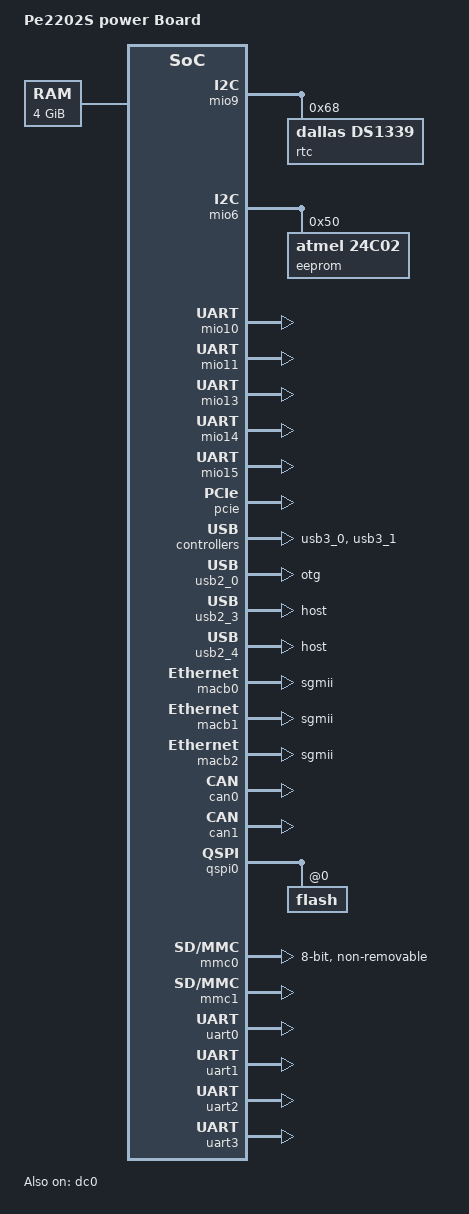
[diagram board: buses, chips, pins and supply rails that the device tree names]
// SPDX-License-Identifier: GPL-2.0
/*
 * DTS file for Phytium Pe2202 power board
 *
 * Copyright (c) 2022-2023 Phytium Technology Co., Ltd.
 *
 * Hongmin Qi <qihongmin@phytium.com.cn>
 *
 * This program is free software; you can redistribute it and/or
 * modify it under the terms of the GNU General Public License as
 * published by the Free Software Foundation; either version 2 of
 * the License, or (at your option) any later version.
 */

/dts-v1/;
/memreserve/ 0x80000000 0x10000;

#include "pe2202.dtsi"

/{
	model = "Pe2202S power Board";
	compatible = "phytium,pe2202";

	chosen {
		stdout-path = "serial1:115200n8";
	};

	memory@00{
		device_type = "memory";
		reg = <0x0 0x80000000 0x1 0x00000000>;
	};
};

&soc {
	mio9: i2c@28026000 {
		compatible = "phytium,i2c";
		reg = <0x0 0x28026000 0x0 0x1000>;
		interrupts = <0x0 0x65 0x4>;
		clocks = <&sysclk_50mhz>;
		#address-cells = <0x1>;
		#size-cells = <0x0>;
		status = "okay";

		rtc@68 {
			compatible = "dallas,ds1339";
			reg = <0x68>;
		};
	};

	mio6: i2c@28020000 {
		status = "okay";
		compatible = "phytium,i2c";
		reg = <0x0 0x28020000 0x0 0x1000>;
		interrupts = <GIC_SPI 98 IRQ_TYPE_LEVEL_HIGH>;
		clocks = <&sysclk_50mhz>;
		#address-cells = <0x1>;
		#size-cells = <0x0>;
		eeprom@50 {
			compatible = "atmel,24c02";
			reg = <0x50>;
			pagesize = <1>;
		};
	};

	mio10: uart@28028000 {
		compatible = "arm,pl011", "arm,primecell";
		reg = <0x0 0x28028000 0x0 0x1000>;
		interrupts = <GIC_SPI 102 IRQ_TYPE_LEVEL_HIGH>;
		clocks = <&sysclk_50mhz &sysclk_50mhz>;
		clock-names = "uartclk", "apb_pclk";
		status = "okay";
	};

	mio11: uart@2802a000 {
		compatible = "arm,pl011", "arm,primecell";
		reg = <0x0 0x2802a000 0x0 0x1000>;
		interrupts = <GIC_SPI 103 IRQ_TYPE_LEVEL_HIGH>;
		clocks = <&sysclk_50mhz &sysclk_50mhz>;
		clock-names = "uartclk", "apb_pclk";
		status = "okay";
	};

	mio13: uart@2802e000 {
		compatible = "arm,pl011", "arm,primecell";
		reg = <0x0 0x2802e000 0x0 0x1000>;
		interrupts = <GIC_SPI 105 IRQ_TYPE_LEVEL_HIGH>;
		clocks = <&sysclk_50mhz &sysclk_50mhz>;
		clock-names = "uartclk", "apb_pclk";
		status = "okay";
	};

	mio14: uart@28030000 {
		compatible = "arm,pl011", "arm,primecell";
		reg = <0x0 0x28030000 0x0 0x1000>;
		interrupts = <GIC_SPI 106 IRQ_TYPE_LEVEL_HIGH>;
		clocks = <&sysclk_50mhz &sysclk_50mhz>;
		clock-names = "uartclk", "apb_pclk";
		status = "okay";
	};

	mio15: uart@28032000 {
		compatible = "arm,pl011", "arm,primecell";
		reg = <0x0 0x28032000 0x0 0x1000>;
		interrupts = <GIC_SPI 107 IRQ_TYPE_LEVEL_HIGH>;
		clocks = <&sysclk_50mhz &sysclk_50mhz>;
		clock-names = "uartclk", "apb_pclk";
		status = "okay";
	};
};

&pcie {
	status = "okay";
};

&usb3_0 {
	status = "okay";
};

&usb3_1 {
	status = "okay";
};

&usb2_0 {
	dr_mode = "otg";
	status = "okay";
};

&usb2_3 {
	dr_mode = "host";
	status = "okay";
};

&usb2_4 {
	dr_mode = "host";
	status = "okay";
};

&macb0 {
	phy-mode = "sgmii";
	use-mii;
	status = "okay";
};

&macb1 {
	phy-mode = "sgmii";
	use-mii;
	status = "okay";
};

&macb2 {
	phy-mode = "sgmii";
	use-mii;
	status = "okay";
};

&macb3 {
	phy-mode = "sgmii";
	use-mii;
	status = "disabled";
};

&dc0 {
	pipe_mask = [02];
	edp_mask = [00];
	status = "okay";
};

&can0 {
	status = "okay";
};

&can1 {
	status = "okay";
};

&qspi0 {
	status = "okay";

	flash@0 {
		status = "okay";
	};
};

&spi0 {
	global-cs = <1>;
	status = "disabled";
};

&mmc0 {
	bus-width = <8>;
	max-frequency = <50000000>;
	cap-mmc-hw-reset;
	cap-mmc-highspeed;
	no-sdio;
	no-sd;
	non-removable;
	status = "okay";
};

&mmc1 {
	status = "okay";
};

&uart0 {
	status = "okay";
};

&uart1 {
	status = "okay";
};

&uart2 {
	status = "okay";
};

&uart3 {
	status = "okay";
};


&gpio0 {
	status = "okay";
};

&gpio1 {
	status = "okay";
};

&gpio2 {
	status = "okay";
};

&gpio3 {
	status = "okay";
};

&gpio4 {
	status = "okay";
};

&gpio5 {
	status = "okay";
};
